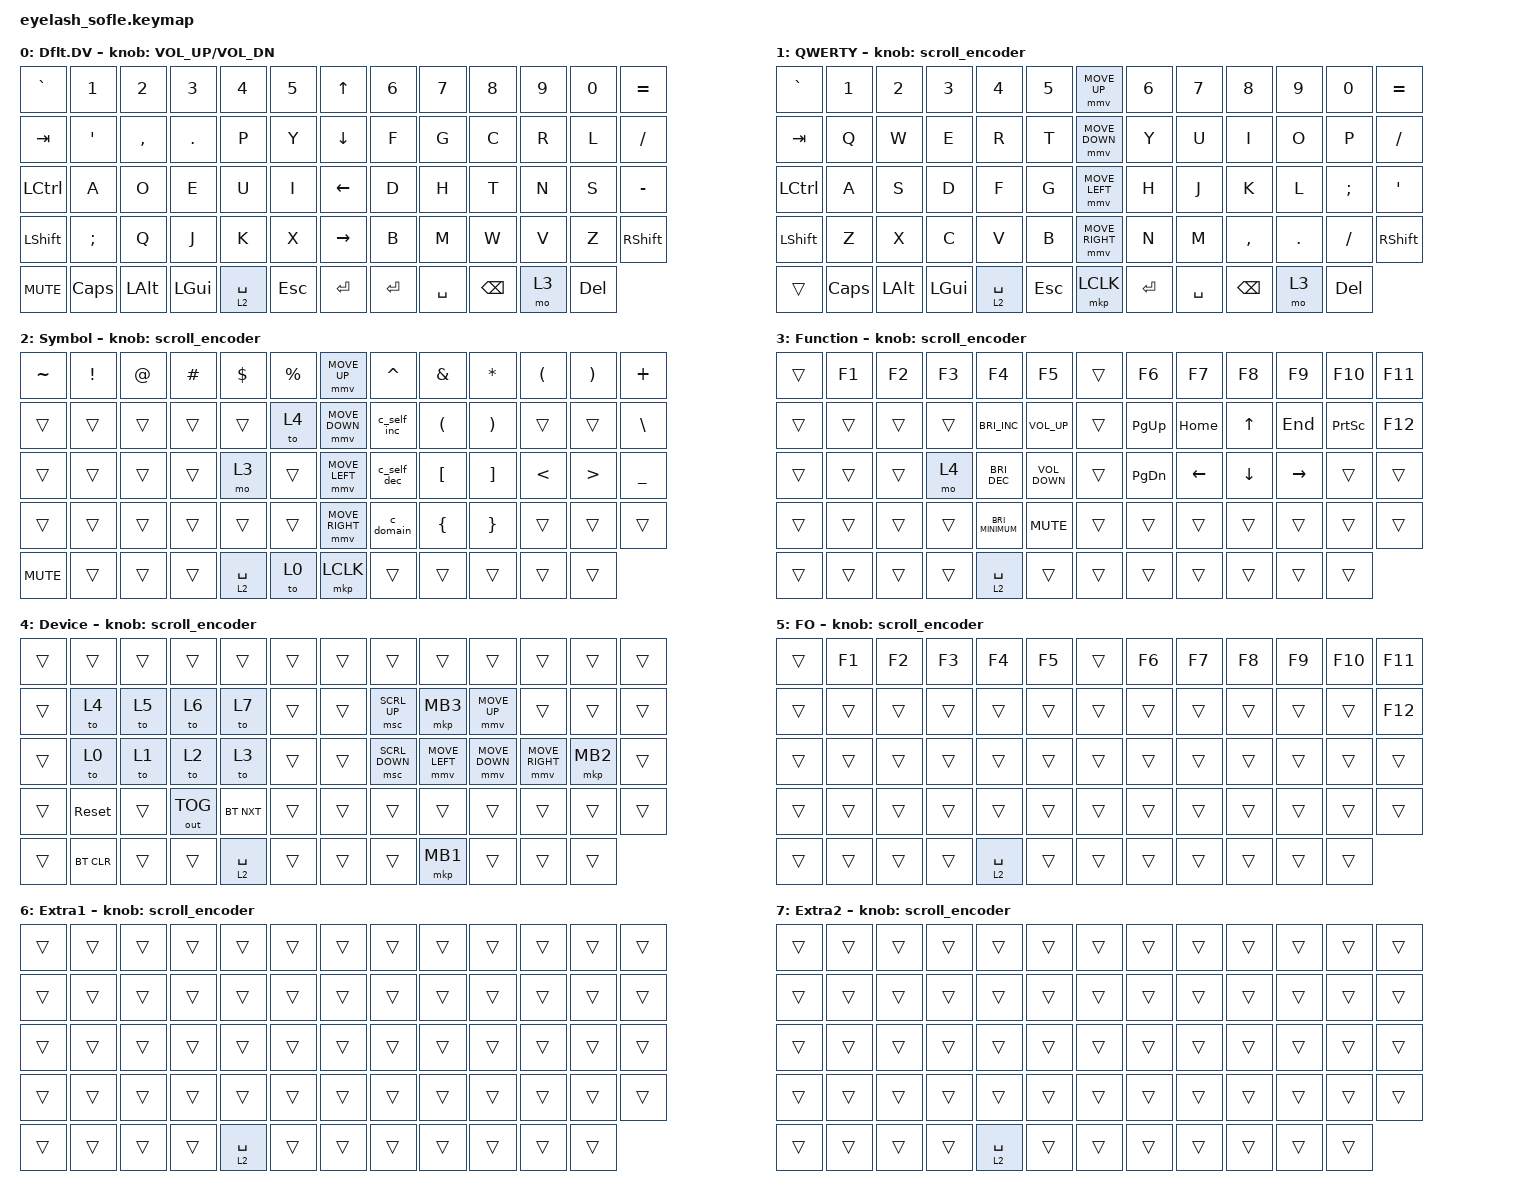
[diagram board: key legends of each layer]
#define ZMK_POINTING_DEFAULT_MOVE_VAL 1000  // 600
#define ZMK_POINTING_DEFAULT_SCRL_VAL 20   // 10

#include <input/processors.dtsi>
#include <zephyr/dt-bindings/input/input-event-codes.h>
#include <behaviors.dtsi>
#include <dt-bindings/zmk/bt.h>
#include <dt-bindings/zmk/keys.h>
#include <dt-bindings/zmk/outputs.h>
#include <dt-bindings/zmk/pointing.h>

/**
 * @brief Mouse and input device configuration for ZMK keyboard firmware
 * 
 * This configuration block sets up mouse movement and scroll behavior parameters:
 * 
 * - mmv_input_listener: Configures mouse movement input scaling with 2x horizontal 
 *   and 1x vertical scaling via zip_xy_scaler processor
 * 
 * - msc_input_listener: Configures mouse scroll input scaling with 2x horizontal 
 *   and 1x vertical scaling via zip_scroll_scaler processor
 * 
 * - msc (Mouse Scroll): 
 *   * acceleration-exponent: Linear acceleration (1) instead of default (0)
 *   * time-to-max-speed-ms: Faster ramp-up time (100ms vs default 300ms)
 *   * delay-ms: No delay before scroll activation (0ms)
 * 
 * - mmv (Mouse Movement):
 *   * time-to-max-speed-ms: Moderate acceleration time (500ms)
 *   * acceleration-exponent: Linear acceleration curve (1)
 *   * trigger-period-ms: 16ms update interval (~60Hz refresh rate)
 * 
 * - soft_off: Requires 2 second hold time before triggering soft power off
 */

// Using custom speed curve instead of default acceleration
&mmv_input_listener { input-processors = <&zip_speed_curve_xy &zip_xy_scaler 2 1>; };

&msc_input_listener { input-processors = <&zip_scroll_scaler 2 1>; };

&msc {
    acceleration-exponent = <2>;      // 0
    time-to-max-speed-ms = <500>;       // 300
    delay-ms = <0>;                   // 0
};

// MMV behavior config - speed curve processor overrides these acceleration settings
&mmv {
    time-to-max-speed-ms = <1000>;
    acceleration-exponent = <2>;
    trigger-period-ms = <10>;
};

&soft_off { hold-time-ms = <2000>; };

&lt { flavor = "hold-preferred"; };

/ {
    // Custom piecewise linear speed curve - like a fan curve!
    // Module: zmk-input-processor-speed-curve
    // Define points as [time_ms, speed_px_per_sec] pairs
    // Speed is linearly interpolated between points
    zip_speed_curve_xy: zip_speed_curve_xy {
        compatible = "zmk,input-processor-speed-curve";
        #input-processor-cells = <0>;
        type = <INPUT_EV_REL>;
        codes = <INPUT_REL_X>, <INPUT_REL_Y>;
        
        // Example curve: Start at 50px/s, ramp to 200px/s at 300ms, then to 800px/s at 1000ms
        curve-points = <0 100>,      // At 0ms: 50 px/sec
                       <600 200>,   // At 500ms: 300 px/sec
                       <1000 1000>;  // At 1000ms: 800 px/sec
        
        trigger-period-ms = <10>;  // Match MMV's trigger period
        track-remainders;          // Enable sub-pixel accuracy
        status = "okay";
    };

    scroll_encoder: scroll_encoder {
        compatible = "zmk,behavior-sensor-rotate";
        #sensor-binding-cells = <0>;
        bindings = <&msc SCRL_DOWN>, <&msc SCRL_UP>;

        tap-ms = <100>;
    };

    behaviors {
    };

    combos {
        compatible = "zmk,combos";

        softoff {
            bindings = <&soft_off>;
            key-positions = <14 40 28>;
        };

        mo_function {
            bindings = <&mo 3>;
            key-positions = <56 30>;
        };

        mo_device {
            bindings = <&mo 4>;
            key-positions = <56 30 29>;
        };
    };

    macros {
        SHIFT_MCLK: SHIFT_MCLK {
            compatible = "zmk,behavior-macro";
            #binding-cells = <0>;
            bindings =
                <&macro_press>,
                <&kp LEFT_SHIFT>,
                <&macro_press>,
                <&mkp MB3>,
                <&macro_pause_for_release>,
                <&macro_release>,
                <&kp LEFT_SHIFT &mkp MB3>;

            label = "SHIFT_MCLK";
        };

        c_self_inc: self_inc {
            compatible = "zmk,behavior-macro";
            #binding-cells = <0>;
            bindings = <&kp PLUS &kp PLUS>;
            label = "SELF_INC";
        };

        c_self_dec: self_dec {
            compatible = "zmk,behavior-macro";
            #binding-cells = <0>;
            bindings = <&kp MINUS &kp MINUS>;
            label = "SELF_DEC";
        };

        c_domain: c_domain {
            compatible = "zmk,behavior-macro";
            #binding-cells = <0>;
            bindings = <&kp COLON &kp COLON>;
            label = "C_DOMAIN";
        };
    };

    keymap {
        compatible = "zmk,keymap";

        Default_Dvorak {
            bindings = <
&kp GRAVE         &kp N1        &kp N2        &kp N3        &kp N4       &kp N5        &kp UP_ARROW     &kp N6     &kp N7     &kp N8    &kp N9  &kp N0      &kp EQUAL
&kp TAB           &kp SQT       &kp COMMA     &kp DOT       &kp P        &kp Y         &kp DOWN_ARROW   &kp F      &kp G      &kp C     &kp R   &kp L       &kp FSLH
&kp LEFT_CONTROL  &kp A         &kp O         &kp E         &kp U        &kp I         &kp LEFT_ARROW   &kp D      &kp H      &kp T     &kp N   &kp S       &kp MINUS
&kp LSHFT         &kp SEMI      &kp Q         &kp J         &kp K        &kp X         &kp RIGHT_ARROW  &kp B      &kp M      &kp W     &kp V   &kp Z       &kp RSHFT
&kp C_MUTE        &kp CAPSLOCK  &kp LEFT_ALT  &kp LEFT_GUI  &lt 2 SPACE  &kp ESCAPE    &kp ENTER        &kp ENTER  &kp SPACE  &kp BSPC  &mo 3   &kp DELETE
            >;

            sensor-bindings = <&inc_dec_kp C_VOLUME_UP C_VOL_DN>;
            display-name = "Dflt.DV";
        };

        QWERTY {
            bindings = <
&kp GRAVE  &kp N1    &kp N2    &kp N3    &kp N4       &kp N5     &mmv MOVE_UP     &kp N6     &kp N7     &kp N8     &kp N9   &kp N0      &kp EQUAL
&kp TAB    &kp Q     &kp W     &kp E     &kp R        &kp T      &mmv MOVE_DOWN   &kp Y      &kp U      &kp I      &kp O    &kp P       &kp FSLH
&kp LCTRL  &kp A     &kp S     &kp D     &kp F        &kp G      &mmv MOVE_LEFT   &kp H      &kp J      &kp K      &kp L    &kp SEMI    &kp APOS
&kp LSHFT  &kp Z     &kp X     &kp C     &kp V        &kp B      &mmv MOVE_RIGHT  &kp N      &kp M      &kp COMMA  &kp DOT  &kp FSLH    &kp RSHFT
&trans     &kp CAPS  &kp LALT  &kp LGUI  &lt 2 SPACE  &kp ESC    &mkp LCLK        &kp ENTER  &kp SPACE  &kp BSPC   &mo 3    &kp DELETE
            >;

            display-name = "QWERTY";
            sensor-bindings = <&scroll_encoder>;
        };

        Symbol {
            bindings = <
&kp TILDE   &kp EXCL  &kp AT  &kp HASH  &kp DLLR     &kp PRCNT    &mmv MOVE_UP     &kp CARET    &kp AMPS              &kp STAR               &kp LPAR  &kp RPAR          &kp PLUS
&trans      &trans    &trans  &trans    &trans       &to 4        &mmv MOVE_DOWN   &c_self_inc  &kp LEFT_PARENTHESIS  &kp RIGHT_PARENTHESIS  &trans    &trans            &kp BACKSLASH
&trans      &trans    &trans  &trans    &mo 3        &trans       &mmv MOVE_LEFT   &c_self_dec  &kp LEFT_BRACKET      &kp RIGHT_BRACKET      &kp LT    &kp GREATER_THAN  &kp UNDER
&trans      &trans    &trans  &trans    &trans       &trans       &mmv MOVE_RIGHT  &c_domain    &kp LEFT_BRACE        &kp RIGHT_BRACE        &trans    &trans            &trans
&kp C_MUTE  &trans    &trans  &trans    &lt 2 SPACE  &to 0        &mkp LCLK        &trans       &trans                &trans                 &trans    &trans
            >;

            display-name = "Symbol";
            sensor-bindings = <&scroll_encoder>;
        };

        Function {
            bindings = <
&trans  &kp F1  &kp F2  &kp F3  &kp F4                    &kp F5               &trans  &kp F6         &kp F7    &kp F8        &kp F9     &kp F10          &kp F11
&trans  &trans  &trans  &trans  &kp C_BRIGHTNESS_INC      &kp C_VOLUME_UP      &trans  &kp PAGE_UP    &kp HOME  &kp UP_ARROW  &kp END    &kp PRINTSCREEN  &kp F12
&trans  &trans  &trans  &mo 4   &kp C_BRIGHTNESS_DEC      &kp C_VOLUME_DOWN    &trans  &kp PAGE_DOWN  &kp LEFT  &kp DOWN      &kp RIGHT  &trans           &trans
&trans  &trans  &trans  &trans  &kp C_BRIGHTNESS_MINIMUM  &kp C_MUTE           &trans  &trans         &trans    &trans        &trans     &trans           &trans
&trans  &trans  &trans  &trans  &lt 2 SPACE               &trans               &trans  &trans         &trans    &trans        &trans     &trans
            >;

            display-name = "Function";
            sensor-bindings = <&scroll_encoder>;
        };

        Device {
            bindings = <
&trans  &trans      &trans  &trans        &trans       &trans    &trans  &trans          &trans          &trans          &trans           &trans    &trans
&trans  &to 4       &to 5   &to 6         &to 7        &trans    &trans  &msc SCRL_UP    &mkp MB3        &mmv MOVE_UP    &trans           &trans    &trans
&trans  &to 0       &to 1   &to 2         &to 3        &trans    &trans  &msc SCRL_DOWN  &mmv MOVE_LEFT  &mmv MOVE_DOWN  &mmv MOVE_RIGHT  &mkp MB2  &trans
&trans  &sys_reset  &trans  &out OUT_TOG  &bt BT_NXT   &trans    &trans  &trans          &trans          &trans          &trans           &trans    &trans
&trans  &bt BT_CLR  &trans  &trans        &lt 2 SPACE  &trans    &trans  &trans          &mkp MB1        &trans          &trans           &trans
            >;

            display-name = "Device";
            sensor-bindings = <&scroll_encoder>;
        };

        Function_Only {
            bindings = <
&trans  &kp F1  &kp F2  &kp F3  &kp F4       &kp F5    &trans  &kp F6  &kp F7  &kp F8  &kp F9  &kp F10  &kp F11
&trans  &trans  &trans  &trans  &trans       &trans    &trans  &trans  &trans  &trans  &trans  &trans   &kp F12
&trans  &trans  &trans  &trans  &trans       &trans    &trans  &trans  &trans  &trans  &trans  &trans   &trans
&trans  &trans  &trans  &trans  &trans       &trans    &trans  &trans  &trans  &trans  &trans  &trans   &trans
&trans  &trans  &trans  &trans  &lt 2 SPACE  &trans    &trans  &trans  &trans  &trans  &trans  &trans
            >;

            display-name = "FO";
            sensor-bindings = <&scroll_encoder>;
        };

        Extra1 {
            bindings = <
&trans  &trans  &trans  &trans  &trans       &trans    &trans  &trans  &trans  &trans  &trans  &trans  &trans
&trans  &trans  &trans  &trans  &trans       &trans    &trans  &trans  &trans  &trans  &trans  &trans  &trans
&trans  &trans  &trans  &trans  &trans       &trans    &trans  &trans  &trans  &trans  &trans  &trans  &trans
&trans  &trans  &trans  &trans  &trans       &trans    &trans  &trans  &trans  &trans  &trans  &trans  &trans
&trans  &trans  &trans  &trans  &lt 2 SPACE  &trans    &trans  &trans  &trans  &trans  &trans  &trans
            >;

            display-name = "Extra1";
            sensor-bindings = <&scroll_encoder>;
        };

        Extra2 {
            bindings = <
&trans  &trans  &trans  &trans  &trans       &trans    &trans  &trans  &trans  &trans  &trans  &trans  &trans
&trans  &trans  &trans  &trans  &trans       &trans    &trans  &trans  &trans  &trans  &trans  &trans  &trans
&trans  &trans  &trans  &trans  &trans       &trans    &trans  &trans  &trans  &trans  &trans  &trans  &trans
&trans  &trans  &trans  &trans  &trans       &trans    &trans  &trans  &trans  &trans  &trans  &trans  &trans
&trans  &trans  &trans  &trans  &lt 2 SPACE  &trans    &trans  &trans  &trans  &trans  &trans  &trans
            >;

            display-name = "Extra2";
            sensor-bindings = <&scroll_encoder>;
        };
    };
};
